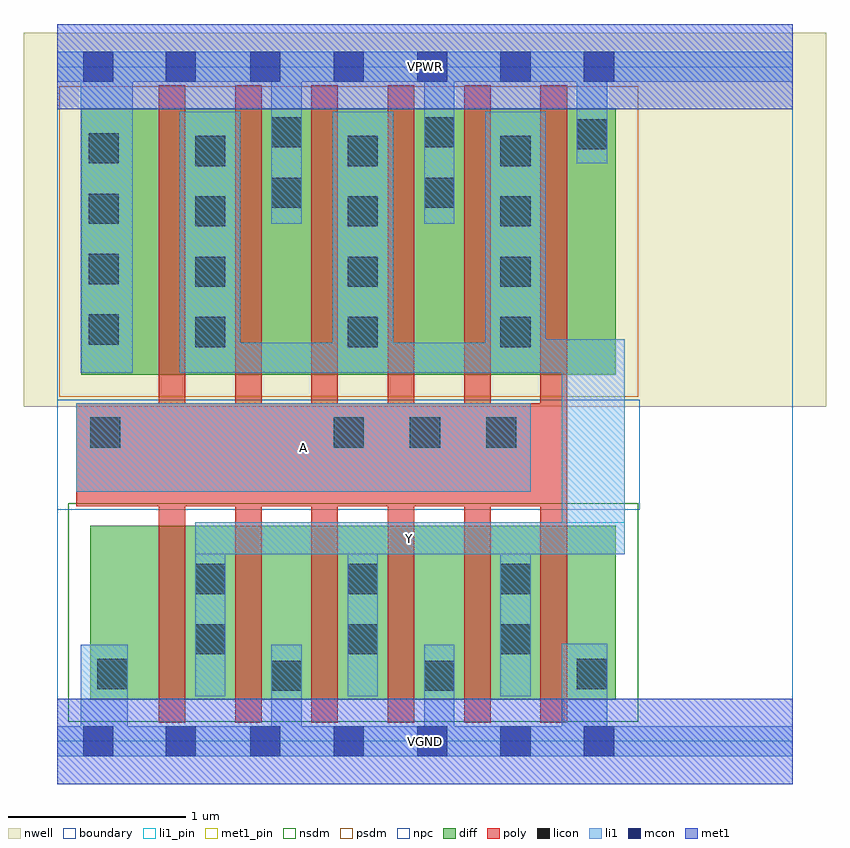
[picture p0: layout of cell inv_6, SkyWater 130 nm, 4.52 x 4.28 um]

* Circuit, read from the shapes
.subckt inv_6 A VGND VPWR Y
XM1 Y A VGND VSUBS sky130_fd_pr__nfet_01v8 w=0.98 l=0.15 m=6
XM2 Y A VPWR n1 sky130_fd_pr__pfet_01v8 w=1.5 l=0.15 m=6
.ends

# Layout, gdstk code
import gdstk
lib = gdstk.Library(unit=1e-6, precision=1e-09)
def R(c, l, rs):  # rectangles x0, y0, x1, y1
    for r in rs: c.add(gdstk.rectangle(r[:2], r[2:], *l))
def A(c, l, x, y, w, h, nx, ny, dx, dy):  # array of equal rectangles
    R(c, l, [(x+i*dx, y+j*dy, x+i*dx+w, y+j*dy+h) for i in range(nx) for j in range(ny)])
nwell = (64, 20)
diff = (65, 20)
poly = (66, 20)
licon = (66, 44)
li1_pin = (67, 16)
li1 = (67, 20)
mcon = (67, 44)
met1_pin = (68, 16)
met1 = (68, 20)
nsdm = (93, 44)
psdm = (94, 20)
npc = (95, 20)
boundary = (235, 4)

inv_6 = lib.new_cell('inv_6')
R(inv_6, nwell, [(-0.19,1.885,4.33,3.99), (0,1.885,4.14,3.99)])
R(inv_6, diff, [(0.185,0.235,3.145,1.215), (0.135,2.065,3.145,3.565)])
A(inv_6, poly, 0.57, 0.105, 0.15, 3.59, 6, 1, 0.43, 0)
R(inv_6, poly, [(0.105,1.325,2.87,1.905)])
A(inv_6, licon, 0.775, 0.49, 0.17, 0.17, 3, 2, 0.86, 0.34)
A(inv_6, licon, 1.555, 1.655, 0.17, 0.17, 3, 1, 0.43, 0)
A(inv_6, licon, 0.775, 2.22, 0.17, 0.17, 3, 4, 0.86, 0.34)
A(inv_6, licon, 0.175, 2.235, 0.17, 0.17, 1, 4, 0, 0.34)
R(inv_6, licon, [(1.205,0.285,1.375,0.455), (2.065,0.285,2.235,0.455), (0.225,0.295,0.395,0.465), (2.925,0.295,3.095,0.465), (0.185,1.655,0.355,1.825), (1.205,3.005,1.375,3.175), (2.065,3.005,2.235,3.175), (2.925,3.335,3.095,3.505), (1.205,3.345,1.375,3.515), (2.065,3.345,2.235,3.515)])
R(inv_6, li1_pin, [(0.775,1.055,3.195,1.235), (0.105,1.405,2.665,1.905)])
A(inv_6, li1, 0.775, 0.255, 0.17, 0.98, 3, 1, 0.86, 0)
A(inv_6, li1, 0.69, 2.075, 0.34, 1.47, 3, 1, 0.86, 0)
R(inv_6, li1, [(0,-0.085,4.14,0.085), (0.13,-0.085,0.395,0.545), (1.205,-0.085,1.375,0.545), (2.065,-0.085,2.235,0.545), (2.84,-0.085,3.095,0.55), (0.775,1.055,3.195,1.235), (2.84,1.055,3.195,2.265), (0.105,1.405,2.665,1.905), (0.13,2.075,0.425,3.885), (0.69,2.075,3.195,2.245), (2.41,2.075,3.195,2.265), (1.205,2.915,1.375,3.885), (2.065,2.915,2.235,3.885), (2.925,3.255,3.095,3.885), (0,3.715,4.14,3.885)])
A(inv_6, mcon, 1.085, -0.085, 0.17, 0.17, 5, 2, 0.47, 3.8)
R(inv_6, mcon, [(0.145,-0.085,0.315,0.085), (0.61,-0.085,0.78,0.085), (0.145,3.715,0.315,3.885), (0.61,3.715,0.78,3.885)])
R(inv_6, met1_pin, [(0,-0.24,4.14,0.24), (0,3.56,4.14,4.04)])
R(inv_6, met1, [(0,-0.24,4.14,0.24), (0,3.56,4.14,4.04)])
R(inv_6, nsdm, [(0.06,0.11,3.27,1.34)])
R(inv_6, psdm, [(0.01,1.94,3.27,3.69)])
R(inv_6, npc, [(0,1.305,3.28,1.925)])
R(inv_6, boundary, [(0,0,4.14,3.8)])
inv_6.add(gdstk.Label('A', (1.385,1.655), layer=67, texttype=5))
inv_6.add(gdstk.Label('Y', (1.985,1.145), layer=67, texttype=5))
inv_6.add(gdstk.Label('VPWR', (2.07,3.8), layer=68, texttype=5))
inv_6.add(gdstk.Label('VGND', (2.07,0), layer=68, texttype=5))
inv_6.add(gdstk.Label('A', (1.385,1.655), layer=67, texttype=16))
inv_6.add(gdstk.Label('Y', (1.985,1.145), layer=67, texttype=16))
inv_6.add(gdstk.Label('VPWR', (2.07,3.8), layer=68, texttype=16))
inv_6.add(gdstk.Label('VGND', (2.07,0), layer=68, texttype=16))

lib.write_gds('inv_6.gds')
